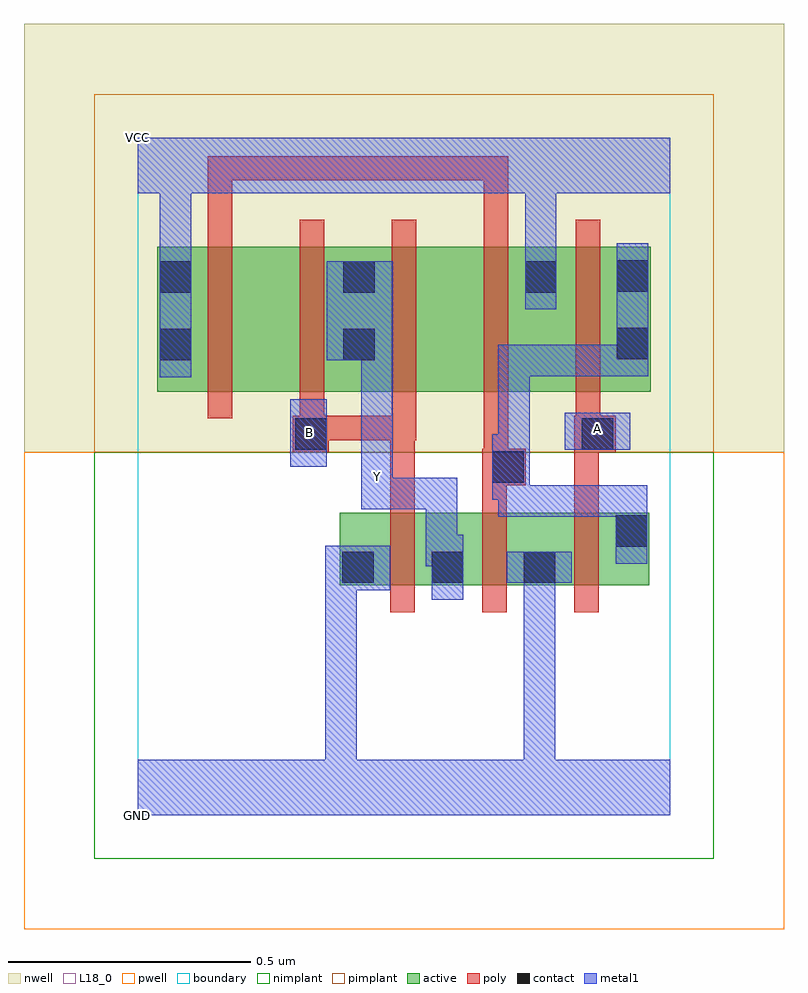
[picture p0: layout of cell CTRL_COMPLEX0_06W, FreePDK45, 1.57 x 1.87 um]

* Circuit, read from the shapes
.subckt CTRL_COMPLEX0_06W A B GND VCC Y
M1 Y B GND VSUBS nfet w=0.15u l=0.05u
M2 GND n1 Y VSUBS nfet w=0.15u l=0.05u
M3 n1 A GND VSUBS nfet w=0.15u l=0.05u
M4 n2 n1 VCC n3 pfet w=0.3u l=0.05u
M5 Y B n2 n3 pfet w=0.3u l=0.05u
M6 n4 B Y n3 pfet w=0.3u l=0.05u
M7 VCC n1 n4 n3 pfet w=0.3u l=0.05u
M8 n1 A VCC n3 pfet w=0.3u l=0.05u
.ends

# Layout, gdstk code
import gdstk
lib = gdstk.Library(unit=1e-6, precision=1e-09)
def R(c, l, rs):  # rectangles x0, y0, x1, y1
    for r in rs: c.add(gdstk.rectangle(r[:2], r[2:], *l))
def A(c, l, x, y, w, h, nx, ny, dx, dy):  # array of equal rectangles
    R(c, l, [(x+i*dx, y+j*dy, x+i*dx+w, y+j*dy+h) for i in range(nx) for j in range(ny)])
active = (1, 0)
pwell = (2, 0)
nwell = (3, 0)
nimplant = (4, 0)
pimplant = (5, 0)
poly = (9, 0)
contact = (10, 0)
metal1 = (11, 0)
L18_0 = (18, 0)
boundary = (235, 0)

ctrl_complex0_06w = lib.new_cell('CTRL_COMPLEX0_06W')
R(ctrl_complex0_06w, active, [(0.417,0.475,0.492,0.625), (0.417,0.475,0.677,0.625), (0.602,0.475,0.677,0.625), (0.602,0.475,0.867,0.625), (0.792,0.475,1.057,0.625), (0.792,0.475,0.867,0.55), (0.982,0.475,1.057,0.625), (0.04,0.875,0.115,1.175), (0.04,0.875,0.265,1.175), (0.265,0.875,0.495,1.175), (0.42,0.875,0.495,1.175), (0.42,0.875,0.645,1.175), (0.645,0.875,0.87,1.175), (0.795,0.875,1.06,1.175), (0.795,0.875,0.87,1.175), (0.985,0.875,1.06,1.165)])
R(ctrl_complex0_06w, pwell, [(-0.235,-0.235,1.335,0.75)])
R(ctrl_complex0_06w, nwell, [(-0.235,0.75,1.335,1.635)])
R(ctrl_complex0_06w, nimplant, [(-0.09,-0.09,1.19,0.75)])
R(ctrl_complex0_06w, pimplant, [(-0.09,0.75,1.19,1.49)])
A(ctrl_complex0_06w, poly, 0.522, 0.42, 0.05, 0.26, 3, 1, 0.19, 0)
A(ctrl_complex0_06w, poly, 0.145, 0.82, 0.05, 0.41, 5, 1, 0.19, 0)
R(ctrl_complex0_06w, poly, [(0.522,0.63,0.572,0.825), (0.712,0.63,0.762,0.732), (0.902,0.63,0.952,0.8), (0.712,0.682,0.802,0.757), (0.715,0.707,0.765,0.87), (0.32,0.75,0.395,0.825), (0.902,0.75,0.987,0.825), (0.335,0.775,0.385,0.87), (0.345,0.775,0.51,0.825), (0.46,0.775,0.51,0.825), (0.46,0.775,0.572,0.825), (0.522,0.775,0.575,0.825), (0.525,0.775,0.575,0.87), (0.905,0.775,0.955,0.87), (0.145,1.18,0.195,1.362), (0.715,1.18,0.765,1.362), (0.145,1.312,0.195,1.362), (0.145,1.312,0.195,1.362), (0.145,1.312,0.195,1.362), (0.145,1.312,0.365,1.362), (0.315,1.312,0.365,1.362), (0.315,1.312,0.365,1.362), (0.315,1.312,0.365,1.362), (0.315,1.312,0.527,1.362), (0.477,1.312,0.527,1.362), (0.477,1.312,0.765,1.362), (0.715,1.312,0.765,1.362), (0.715,1.312,0.765,1.362), (0.715,1.312,0.765,1.362)])
R(ctrl_complex0_06w, contact, [(0.422,0.48,0.487,0.545), (0.607,0.48,0.672,0.545), (0.797,0.48,0.862,0.545), (0.987,0.555,1.052,0.62), (0.732,0.687,0.797,0.752), (0.325,0.755,0.39,0.82), (0.917,0.755,0.982,0.82), (0.045,0.94,0.11,1.005), (0.425,0.94,0.49,1.005), (0.99,0.942,1.055,1.007), (0.045,1.08,0.11,1.145), (0.425,1.08,0.49,1.145), (0.8,1.08,0.865,1.145), (0.99,1.082,1.055,1.147)])
R(ctrl_complex0_06w, metal1, [(0,0,1.1,0.115), (0.387,0.05,0.452,0.53), (0.797,0.05,0.862,0.545), (0.607,0.445,0.672,0.58), (0.387,0.465,0.452,0.53), (0.387,0.465,0.452,0.53), (0.387,0.465,0.452,0.53), (0.387,0.465,0.452,0.53), (0.387,0.465,0.452,0.53), (0.387,0.465,0.452,0.53), (0.387,0.465,0.522,0.557), (0.762,0.48,0.897,0.545), (0.797,0.48,0.862,0.545), (0.797,0.48,0.862,0.545), (0.797,0.48,0.862,0.545), (0.797,0.48,0.862,0.545), (0.797,0.48,0.862,0.545), (0.797,0.48,0.862,0.545), (0.595,0.515,0.672,0.58), (0.595,0.515,0.66,0.697), (0.987,0.52,1.052,0.655), (0.987,0.59,1.052,0.655), (0.987,0.59,1.052,0.682), (0.745,0.617,0.81,0.682), (0.745,0.617,1.052,0.682), (0.745,0.617,0.81,0.73), (0.462,0.632,0.527,0.697), (0.462,0.632,0.527,0.697), (0.462,0.632,0.527,0.767), (0.462,0.632,0.66,0.697), (0.732,0.652,0.797,0.787), (0.732,0.665,0.81,0.73), (0.745,0.665,0.81,0.73), (0.745,0.665,0.81,0.972), (0.462,0.702,0.527,1.005), (0.315,0.72,0.39,0.86), (0.882,0.755,1.017,0.832), (0.045,0.905,0.11,1.18), (0.745,0.907,0.81,0.972), (0.745,0.907,1.055,0.972), (0.99,0.907,1.055,0.972), (0.99,0.907,1.055,0.972), (0.99,0.907,1.055,1.182), (0.39,0.94,0.527,1.145), (0.8,1.045,0.865,1.18), (0.045,1.115,0.11,1.18), (0.045,1.115,0.11,1.18), (0.045,1.115,0.11,1.35), (0.8,1.115,0.865,1.35), (0,1.285,1.1,1.4), (0.8,1.285,0.865,1.35), (0.8,1.285,0.865,1.35)])
R(ctrl_complex0_06w, L18_0, [(0,0,1.1,0.115), (0.387,0.05,0.452,0.53), (0.797,0.05,0.862,0.545), (0.607,0.445,0.672,0.58), (0.387,0.465,0.452,0.53), (0.387,0.465,0.452,0.53), (0.387,0.465,0.452,0.53), (0.387,0.465,0.452,0.53), (0.387,0.465,0.452,0.53), (0.387,0.465,0.452,0.53), (0.387,0.465,0.522,0.557), (0.762,0.48,0.897,0.545), (0.797,0.48,0.862,0.545), (0.797,0.48,0.862,0.545), (0.797,0.48,0.862,0.545), (0.797,0.48,0.862,0.545), (0.797,0.48,0.862,0.545), (0.797,0.48,0.862,0.545), (0.595,0.515,0.66,0.697), (0.595,0.515,0.672,0.58), (0.462,0.632,0.527,0.697), (0.462,0.632,0.527,0.697), (0.462,0.632,0.527,0.767), (0.462,0.632,0.66,0.697), (0.462,0.667,0.527,0.732), (0.462,0.702,0.527,1.005), (0.315,0.72,0.39,0.86), (0.882,0.755,1.017,0.832), (0.322,0.757,0.387,0.822), (0.917,0.767,0.982,0.832), (0.045,0.905,0.11,1.18), (0.39,0.94,0.527,1.145), (0.8,1.045,0.865,1.18), (0.045,1.115,0.11,1.18), (0.045,1.115,0.11,1.18), (0.045,1.115,0.11,1.35), (0.8,1.115,0.865,1.35), (0,1.285,1.1,1.4), (0.8,1.285,0.865,1.35), (0.8,1.285,0.865,1.35)])
R(ctrl_complex0_06w, boundary, [(0,0,1.1,1.4)])
ctrl_complex0_06w.add(gdstk.Label('A', (0.95,0.8), layer=11, texttype=0))
ctrl_complex0_06w.add(gdstk.Label('B', (0.355,0.79), layer=11, texttype=0))
ctrl_complex0_06w.add(gdstk.Label('Y', (0.495,0.7), layer=11, texttype=0))
ctrl_complex0_06w.add(gdstk.Label('VCC', (0,1.4), layer=11, texttype=0))
ctrl_complex0_06w.add(gdstk.Label('GND', (0,0), layer=11, texttype=0))

lib.write_gds('CTRL_COMPLEX0_06W.gds')
